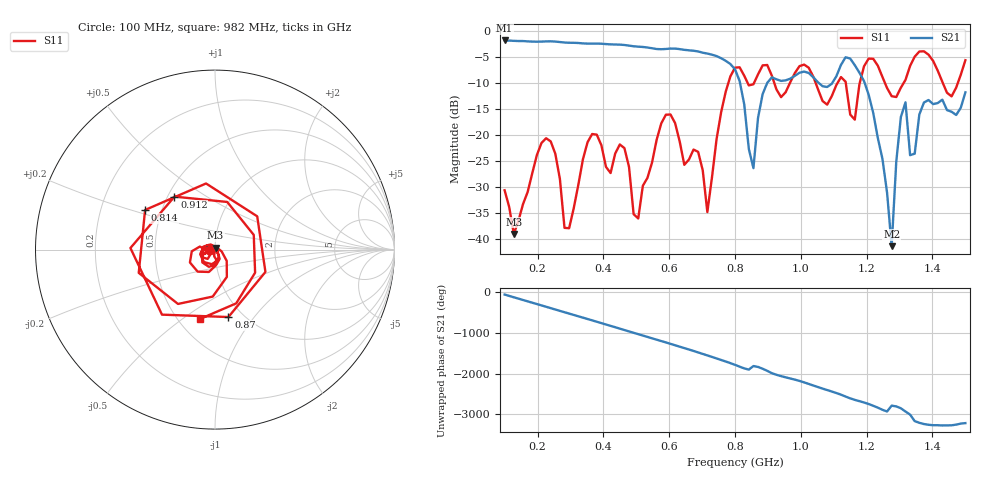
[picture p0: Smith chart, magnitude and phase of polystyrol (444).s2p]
! NanoVNA-App
! Date: 2025-09-25 15:33:20
! Start: 100MHz Stop: 1,5GHz Points: 101
! S-Parameter data: F S11 S21 S12 S22
# Hz S RI R 50
!  Frequency  S11_Real  S11_Imag  S21_Real  S21_Imag  S12_Real  S12_Imag  S22_Real  S22_Imag
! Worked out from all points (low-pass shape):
!   101 points, 100 MHz to 1.5 GHz, reference 50 ohm
!   highest |S21| = -1.80 dB at 100 MHz (marker M1); lowest = -41.5 dB at 1.276 GHz (marker M2)
!   |S21| within 3 dB of the highest: start of sweep to 743.2 MHz
!   lowest |S11| = -39.1 dB at 128 MHz (marker M3), VSWR 1.02, Z = 50.3 + j1.06 ohm
!   |S11| at or under -10 dB: start of sweep to 779.9 MHz; 1.045 GHz to 1.112 GHz (66.47 MHz wide, 6.16 % of centre); 1.256 GHz to 1.312 GHz (56.88 MHz wide, 4.43 % of centre) (the widest 3 of 7)
!   S12 and S22 are empty: the file has one direction only
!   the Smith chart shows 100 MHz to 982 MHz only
!   S11 on the Smith chart (normalised r, x): 100 MHz: 0.94, -0.01; 814 MHz: 0.40, +0.22; 870 MHz: 0.86, -0.75; 912 MHz: 0.54, +0.37; 982 MHz: 0.64, -0.58
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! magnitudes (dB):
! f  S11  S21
! 100 MHz  -30.7  -1.8
! 128 MHz  -39.1  -1.9
! 212 MHz  -21.6  -2.0
! 282 MHz  -37.9  -2.2
! 338 MHz  -24.7  -2.4
! 464 MHz  -22.6  -2.7
! 506 MHz  -36.1  -3.0
! 576 MHz  -17.8  -3.5
! 716 MHz  -34.9  -4.3
! 800 MHz  -7.0  -7.4
! 814 MHz  -7.0  -9.6
! 856 MHz  -10.2  -26.4
! 870 MHz  -8.3  -16.7
! 912 MHz  -8.6  -8.9
! 982 MHz  -8.1  -8.6
! 1.038 GHz  -8.8  -8.9
! 1.164 GHz  -17.1  -6.6
! 1.192 GHz  -6.8  -9.6
! 1.276 GHz  -12.6  -41.5
! 1.318 GHz  -9.4  -13.7
! 1.332 GHz  -6.7  -23.9
! 1.5 GHz  -5.6  -11.8
